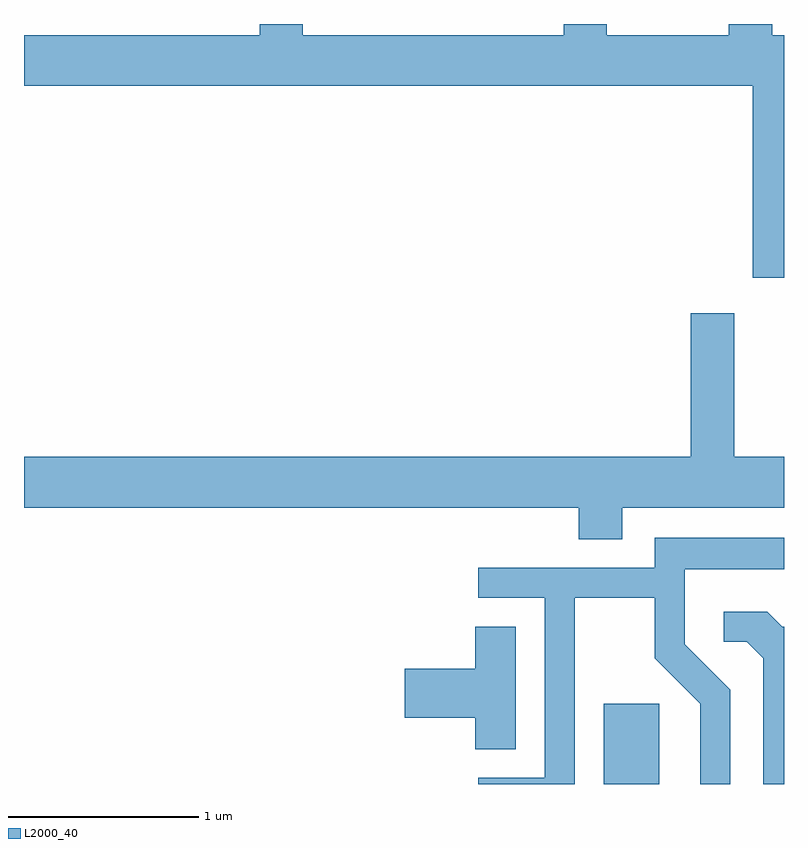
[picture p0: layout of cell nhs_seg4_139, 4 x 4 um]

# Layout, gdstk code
import gdstk
lib = gdstk.Library(unit=1e-6, precision=1e-09)
def R(c, l, rs):  # rectangles x0, y0, x1, y1
    for r in rs: c.add(gdstk.rectangle(r[:2], r[2:], *l))
def P(c, l, *ps):  # polygons
    for p in ps: c.add(gdstk.Polygon(p, *l))
L2000_40 = (2000, 40)

nhs_seg4_139 = lib.new_cell('nhs_seg4_139')
R(nhs_seg4_139, L2000_40, [(192.661,1259.982,192.954,1260.404)])
P(nhs_seg4_139, L2000_40, [(193.611,1263.924),(193.549,1263.924),(193.549,1263.982),(193.321,1263.982),(193.321,1263.924),(192.679,1263.924),(192.679,1263.982),(192.451,1263.982),(192.451,1263.924),(191.079,1263.924),(191.079,1263.982),(190.851,1263.982),(190.851,1263.924),(189.611,1263.924),(189.611,1263.656),(193.446,1263.656),(193.446,1262.646),(193.611,1262.646)],
  [(192.759,1261.436),(193.611,1261.436),(193.611,1261.704),(193.349,1261.704),(193.349,1262.459),(193.121,1262.459),(193.121,1261.704),(189.611,1261.704),(189.611,1261.436),(192.531,1261.436),(192.531,1261.271),(192.759,1261.271)],
  [(192.509,1260.961),(192.931,1260.961),(192.931,1260.644),(193.171,1260.404),(193.171,1259.982),(193.329,1259.982),(193.329,1260.477),(193.089,1260.717),(193.089,1261.111),(193.611,1261.111),(193.611,1261.279),(192.931,1261.279),(192.931,1261.119),(192.003,1261.119),(192.003,1260.961),(192.351,1260.961),(192.351,1260.014),(192.003,1260.014),(192.003,1259.982),(192.509,1259.982)],
  [(193.611,1260.809),(193.602,1260.809),(193.522,1260.889),(193.293,1260.889),(193.293,1260.731),(193.414,1260.731),(193.501,1260.644),(193.501,1259.982),(193.611,1259.982)],
  [(192.199,1260.809),(191.986,1260.809),(191.986,1260.589),(191.616,1260.589),(191.616,1260.331),(191.986,1260.331),(191.986,1260.166),(192.199,1260.166)])

lib.write_gds('nhs_seg4_139.gds')
